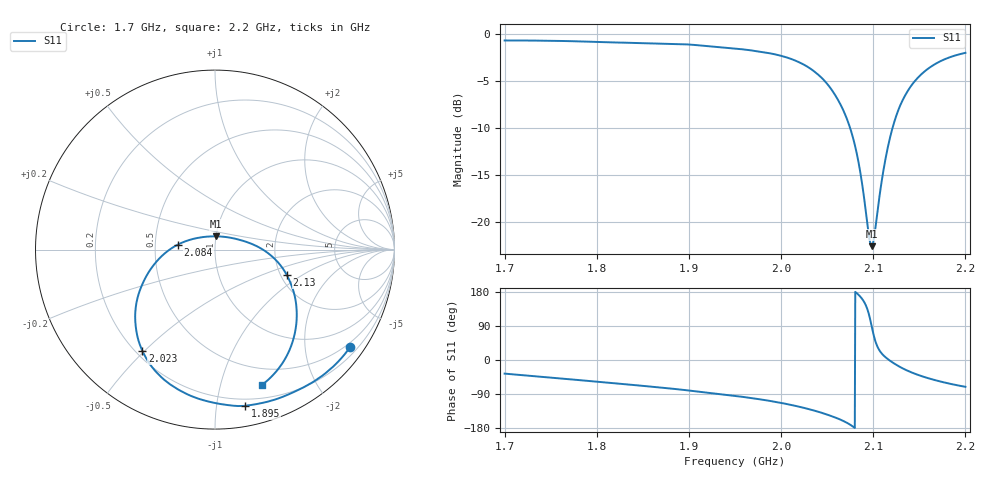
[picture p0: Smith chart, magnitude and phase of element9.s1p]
# Hz S RI R 50
! CMT, CMT808U, 21440046, 21.4.3/4
! Date: 12/1/2025 1:41:00 PM
! Data: Format (Calibration Info)
! Freq	S11:Re/Im(F2)
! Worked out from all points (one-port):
!   1001 points, 1.7 GHz to 2.2 GHz, reference 50 ohm
!   lowest |S11| = -22.6 dB at 2.099 GHz (marker M1), VSWR 1.16, Z = 49.8 + j7.4 ohm
!   |S11| at or under -10 dB: 2.075 GHz to 2.121 GHz (45.97 MHz wide, 2.19 % of centre)
!   S11 on the Smith chart (normalised r, x): 1.7 GHz: 0.38, -3.04; 1.895 GHz: 0.15, -1.20; 2.023 GHz: 0.23, -0.49; 2.084 GHz: 0.66, +0.04; 2.13 GHz: 2.16, -0.75; 2.2 GHz: 0.33, -1.36
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1.7e9  0.7521 -0.5454
1.7625e9  0.6059 -0.6965
1.825e9  0.4154 -0.804
1.8875e9  0.1979 -0.8662
1.895e9  0.1672 -0.8705
1.95e9  -0.0679 -0.8381
1.986e9  -0.2353 -0.7607
2.0125e9  -0.3611 -0.6404
2.0235e9  -0.404 -0.5656
2.0385e9  -0.4405 -0.4367
2.0515e9  -0.4389 -0.3034
2.065e9  -0.3873 -0.1564
2.075e9  -0.3113 -0.0507
2.08e9  -0.2573 -0.00324
2.084e9  -0.2062 0.0283
2.0885e9  -0.1426 0.0537
2.0955e9  -0.0401 0.0725
2.0985e9  0.00393 0.0738
2.1015e9  0.0478 0.0714
2.109e9  0.1547 0.0494
2.1155e9  0.2449 0.0127
2.1225e9  0.3327 -0.0519
2.13e9  0.4008 -0.1431
2.1375e9  0.4391 -0.2386
2.151e9  0.4543 -0.3998
2.1685e9  0.4117 -0.5675
2.184e9  0.3434 -0.6762
2.2e9  0.2628 -0.7532
